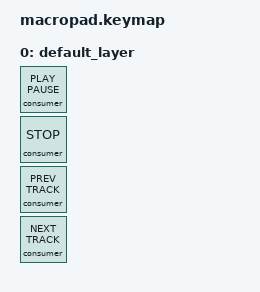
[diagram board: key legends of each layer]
#include <behaviors.dtsi>
#include <dt-bindings/zmk/keys.h>
#include <dt-bindings/zmk/bt-media-keys.h>

 / {
    keymap {
        compatible = "zmk,keymap";

        default_layer {
            bindings = <
                &consumer PLAY_PAUSE   /* key 0 */
                &consumer STOP         /* key 1 */
                &consumer PREV_TRACK   /* key 2 */
                &consumer NEXT_TRACK   /* key 3 */
            >;

            encoder_bindings = <
                &beh_encoder_vol_up   /* rotate clockwise */
                &beh_encoder_vol_down /* rotate counter-clockwise */
                &consumer MUTE        /* push */
            >;
        };
    };
};
